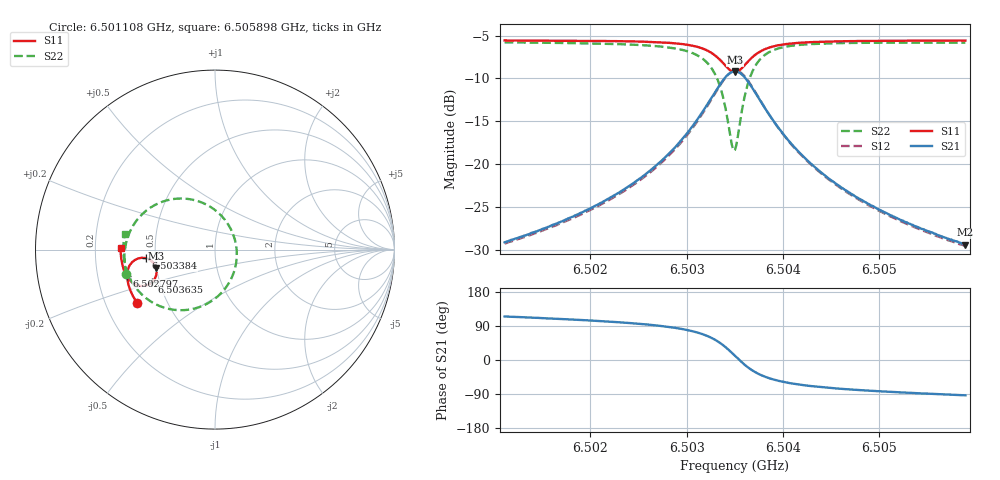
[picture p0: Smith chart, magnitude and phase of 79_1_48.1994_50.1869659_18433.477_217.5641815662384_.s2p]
#  HZ  S  RI  R  50.00
! Rohde & Schwarz Vector Network Analyzer
! Rohde-Schwarz,ZNB20-2Port,1311601062101988,3.16
! Created: UTC 3/20/2024, 11:39:36 AM
! freq[Hz]  re:S11  im:S11  re:S21  im:S21  re:S12  im:S12  re:S22  im:S22
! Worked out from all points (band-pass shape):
!   401 points, 6.501108 GHz to 6.505898 GHz, reference 50 ohm
!   highest |S21| = -9.17 dB at 6.503503 GHz (marker M1); lowest = -29.4 dB at 6.505898 GHz (marker M2)
!   |S21| within 3 dB of the highest: 6.503263 GHz to 6.503743 GHz (479.9 kHz wide, 0.00738 % of centre)
!   lowest |S11| = -9.3 dB at 6.503503 GHz (marker M3), VSWR 2.05, Z = 24.8 - j5.73 ohm
!   |S11| at or under -10 dB: nowhere
!   |S22| runs from -18.4 to -5.8 dB; largest |S21 - S12| = 0.012
!   S11 on the Smith chart (normalised r, x): 6.501108 GHz: 0.34, -0.28; 6.502797 GHz: 0.33, -0.13; 6.503384 GHz: 0.44, -0.05; 6.503635 GHz: 0.45, -0.20; 6.505898 GHz: 0.31, +0.01
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6.5011084e9  -0.4335 -0.2987  -0.0148 0.0318  -0.0131 0.0319  -0.4941 -0.1385
6.5019107e9  -0.4669 -0.238  -0.0138 0.0505  -0.0114 0.0499  -0.5046 -0.0504
6.5023537e9  -0.4819 -0.1975  -0.0106 0.0709  -0.00753 0.0696  -0.4996 0.0158
6.502713e9  -0.4895 -0.1563  -0.000761 0.1015  0.00289 0.0991  -0.4776 0.0919
6.5027968e9  -0.4899 -0.1446  0.00415 0.1123  0.00813 0.1094  -0.4666 0.115
6.5030003e9  -0.4852 -0.1104  0.0276 0.1479  0.0313 0.1432  -0.4177 0.1845
6.503144e9  -0.4703 -0.0805  0.0661 0.1822  0.069 0.1761  -0.3427 0.244
6.5032877e9  -0.4313 -0.0507  0.1504 0.2112  0.1509 0.2047  -0.189 0.2847
6.5033356e9  -0.4095 -0.0461  0.194 0.2093  0.194 0.2035  -0.1124 0.275
6.5033835e9  -0.3834 -0.0485  0.2442 0.1934  0.2442 0.1886  -0.0265 0.2389
6.5034673e9  -0.3397 -0.0789  0.3239 0.116  0.3265 0.1118  0.1006 0.0862
6.5035033e9  -0.3287 -0.1018  0.3416 0.0659  0.3454 0.0603  0.1213 -0.00835
6.5035272e9  -0.3256 -0.1185  0.3448 0.0304  0.349 0.0233  0.118 -0.0736
6.5035631e9  -0.328 -0.1432  0.337 -0.021  0.3406 -0.0302  0.0891 -0.1647
6.503635e9  -0.351 -0.1812  0.2886 -0.099  0.2885 -0.1107  -0.0252 -0.2906
6.5037308e9  -0.3928 -0.2013  0.2082 -0.1427  0.2031 -0.1533  -0.1889 -0.3376
6.5038864e9  -0.443 -0.194  0.118 -0.1418  0.1106 -0.1474  -0.3531 -0.2918
6.5040541e9  -0.4726 -0.1728  0.069 -0.1202  0.0624 -0.1228  -0.4326 -0.223
6.5043055e9  -0.4953 -0.1415  0.0354 -0.0927  0.0304 -0.0933  -0.4811 -0.1437
6.5046647e9  -0.5111 -0.1029  0.0156 -0.0683  0.0121 -0.0678  -0.5044 -0.0676
6.5051078e9  -0.5207 -0.0611  0.00543 -0.0505  0.00302 -0.05  -0.5107 -0.00142
6.5058981e9  -0.5261 0.0066  -0.00193 -0.0339  -0.0034 -0.0332  -0.5037 0.0852
